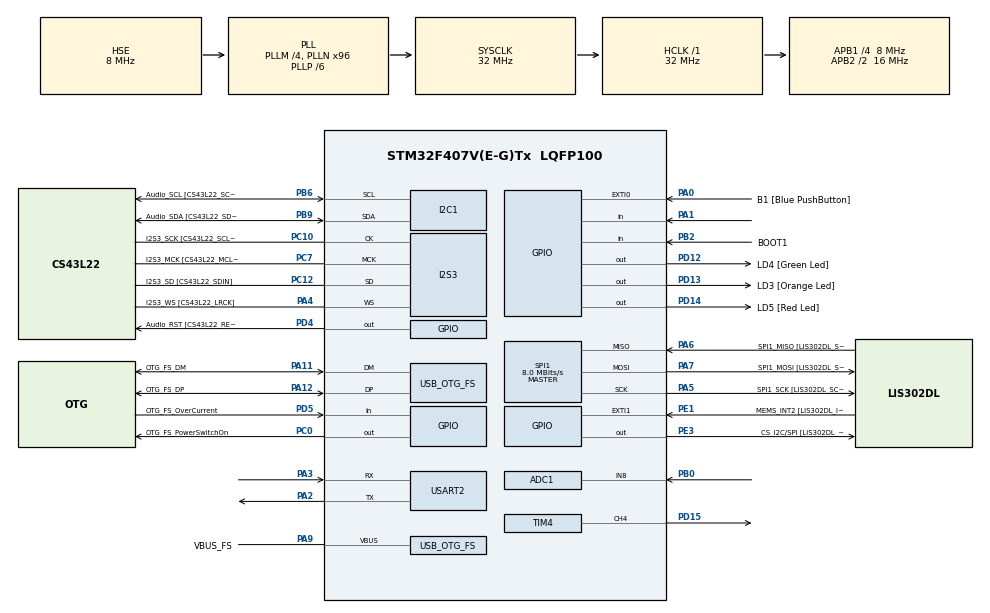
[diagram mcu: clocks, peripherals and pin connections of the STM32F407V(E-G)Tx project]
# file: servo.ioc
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ADC1.Channel-0\#ChannelRegularConversion=ADC_CHANNEL_8
ADC1.NbrOfConversionFlag=1
ADC1.Rank-0\#ChannelRegularConversion=1
ADC1.SamplingTime-0\#ChannelRegularConversion=ADC_SAMPLETIME_3CYCLES
ADC1.master=1
I2S3.AudioFreq=I2S_AUDIOFREQ_96K
I2S3.AudioFreq-Half_Duplex_Master=I2S_AUDIOFREQ_96K
I2S3.ErrorAudioFreq=- %
I2S3.ErrorAudioFreq-Half_Duplex_Master=0.8 %
I2S3.FullDuplexMode=I2S_FULLDUPLEXMODE_DISABLE
I2S3.Instance=SPI$Index
I2S3.RealAudioFreq=- Hz
I2S3.RealAudioFreq-Half_Duplex_Master=96.774 KHz
I2S3.VirtualMode=I2S_MODE_MASTER
Mcu.Family=STM32F4
Mcu.Name=STM32F407V(E-G)Tx
Mcu.Package=LQFP100
NVIC.OTG_FS_IRQn=true\:0\:0\:false\:false\:true\:true\:true
NVIC.PriorityGroup=NVIC_PRIORITYGROUP_0
PA0-WKUP.GPIO_Label=B1 [Blue PushButton]
PA0-WKUP.GPIO_ModeDefaultEXTI=GPIO_MODE_EVT_RISING
PA0-WKUP.GPIO_PuPd=GPIO_NOPULL
PA0-WKUP.Signal=GPXTI0
PA1.Signal=GPIO_Input
PA10.GPIO_Label=OTG_FS_ID
PA10.GPIO_Mode=GPIO_MODE_AF_PP
PA10.GPIO_PuPd=GPIO_NOPULL
PA10.GPIO_Speed=GPIO_SPEED_FREQ_LOW
PA10.Signal=USB_OTG_FS_ID
PA11.GPIO_Label=OTG_FS_DM
PA11.GPIO_Mode=GPIO_MODE_AF_PP
PA11.GPIO_PuPd=GPIO_NOPULL
PA11.GPIO_Speed=GPIO_SPEED_FREQ_LOW
PA11.Mode=Host_Only
PA11.Signal=USB_OTG_FS_DM
PA12.GPIO_Label=OTG_FS_DP
PA12.GPIO_Mode=GPIO_MODE_AF_PP
PA12.GPIO_PuPd=GPIO_NOPULL
PA12.GPIO_Speed=GPIO_SPEED_FREQ_LOW
PA12.Mode=Host_Only
PA12.Signal=USB_OTG_FS_DP
PA13.GPIO_Label=SWDIO
PA13.Mode=Serial_Wire
PA13.Signal=SYS_JTMS-SWDIO
PA14.GPIO_Label=SWCLK
PA14.Mode=Serial_Wire
PA14.Signal=SYS_JTCK-SWCLK
PA2.Mode=Asynchronous
PA2.Signal=USART2_TX
PA3.Mode=Asynchronous
PA3.Signal=USART2_RX
PA4.GPIO_Label=I2S3_WS [CS43L22_LRCK]
PA4.GPIO_Mode=GPIO_MODE_AF_PP
PA4.GPIO_PuPd=GPIO_NOPULL
PA4.GPIO_Speed=GPIO_SPEED_FREQ_LOW
PA4.Mode=Half_Duplex_Master
PA4.Signal=I2S3_WS
PA5.GPIO_Label=SPI1_SCK [LIS302DL_SCL/SPC]
PA5.GPIO_Mode=GPIO_MODE_AF_PP
PA5.GPIO_PuPd=GPIO_NOPULL
PA5.GPIO_Speed=GPIO_SPEED_FREQ_LOW
PA5.Mode=Full_Duplex_Master
PA5.Signal=SPI1_SCK
PA6.GPIO_Label=SPI1_MISO [LIS302DL_SDO]
PA6.GPIO_Mode=GPIO_MODE_AF_PP
PA6.GPIO_PuPd=GPIO_NOPULL
PA6.GPIO_Speed=GPIO_SPEED_FREQ_LOW
PA6.Mode=Full_Duplex_Master
PA6.Signal=SPI1_MISO
PA7.GPIO_Label=SPI1_MOSI [LIS302DL_SDA/SDI/SDO]
PA7.GPIO_Mode=GPIO_MODE_AF_PP
PA7.GPIO_PuPd=GPIO_NOPULL
PA7.GPIO_Speed=GPIO_SPEED_FREQ_LOW
PA7.Mode=Full_Duplex_Master
PA7.Signal=SPI1_MOSI
PA9.GPIO_Label=VBUS_FS
PA9.GPIO_Mode=GPIO_MODE_INPUT
PA9.GPIO_PuPd=GPIO_NOPULL
PA9.Mode=Activate_VBUS
PA9.Signal=USB_OTG_FS_VBUS
PB0.Signal=ADCx_IN8
PB10.GPIO_Label=CLK_IN [MP45DT02_CLK]
PB10.GPIO_Mode=GPIO_MODE_AF_PP
PB10.GPIO_PuPd=GPIO_NOPULL
PB10.GPIO_Speed=GPIO_SPEED_FREQ_LOW
PB10.Signal=I2S2_CK
PB2.GPIO_Label=BOOT1
PB2.GPIO_Mode=GPIO_MODE_INPUT
PB2.GPIO_PuPd=GPIO_NOPULL
PB2.Signal=GPIO_Input
PB3.GPIO_Label=SWO
PB3.Signal=SYS_JTDO-SWO
PB6.GPIO_Label=Audio_SCL [CS43L22_SCL]
PB6.GPIO_Mode=GPIO_MODE_AF_OD
PB6.GPIO_PuPd=GPIO_NOPULL
PB6.GPIO_Speed=GPIO_SPEED_FREQ_LOW
PB6.Mode=I2C
PB6.Signal=I2C1_SCL
PB9.GPIO_Label=Audio_SDA [CS43L22_SDA]
PB9.GPIO_Mode=GPIO_MODE_AF_OD
PB9.GPIO_PuPd=GPIO_NOPULL
PB9.GPIO_Speed=GPIO_SPEED_FREQ_LOW
PB9.Mode=I2C
PB9.Signal=I2C1_SDA
PC0.GPIO_Label=OTG_FS_PowerSwitchOn
PC0.GPIO_PuPd=GPIO_NOPULL
PC0.GPIO_Speed=GPIO_SPEED_FREQ_LOW
PC0.PinState=GPIO_PIN_SET
PC0.Signal=GPIO_Output
PC10.GPIO_Label=I2S3_SCK [CS43L22_SCLK]
PC10.GPIO_Mode=GPIO_MODE_AF_PP
PC10.GPIO_PuPd=GPIO_NOPULL
PC10.GPIO_Speed=GPIO_SPEED_FREQ_LOW
PC10.Mode=Half_Duplex_Master
PC10.Signal=I2S3_CK
PC12.GPIO_Label=I2S3_SD [CS43L22_SDIN]
PC12.GPIO_Mode=GPIO_MODE_AF_PP
PC12.GPIO_PuPd=GPIO_NOPULL
PC12.GPIO_Speed=GPIO_SPEED_FREQ_LOW
PC12.Mode=Half_Duplex_Master
PC12.Signal=I2S3_SD
PC14-OSC32_IN.GPIO_Label=PC14-OSC32_IN
PC14-OSC32_IN.Mode=LSE-External-Oscillator
PC14-OSC32_IN.Signal=RCC_OSC32_IN
PC15-OSC32_OUT.GPIO_Label=PC15-OSC32_OUT
PC15-OSC32_OUT.Mode=LSE-External-Oscillator
PC15-OSC32_OUT.Signal=RCC_OSC32_OUT
PC3.GPIO_Label=PDM_OUT [MP45DT02_DOUT]
PC3.GPIO_Mode=GPIO_MODE_AF_PP
PC3.GPIO_PuPd=GPIO_NOPULL
PC3.GPIO_Speed=GPIO_SPEED_FREQ_LOW
PC3.Signal=I2S2_SD
PC7.GPIO_Label=I2S3_MCK [CS43L22_MCLK]
PC7.GPIO_Mode=GPIO_MODE_AF_PP
PC7.GPIO_PuPd=GPIO_NOPULL
PC7.GPIO_Speed=GPIO_SPEED_FREQ_LOW
PC7.Mode=Master_Clock_Activated
PC7.Signal=I2S3_MCK
PD12.GPIO_Label=LD4 [Green Led]
PD12.GPIO_PuPd=GPIO_NOPULL
PD12.GPIO_Speed=GPIO_SPEED_FREQ_LOW
PD12.Signal=GPIO_Output
PD13.GPIO_Label=LD3 [Orange Led]
PD13.GPIO_PuPd=GPIO_NOPULL
PD13.GPIO_Speed=GPIO_SPEED_FREQ_LOW
PD13.Signal=GPIO_Output
PD14.GPIO_Label=LD5 [Red Led]
PD14.GPIO_PuPd=GPIO_NOPULL
PD14.GPIO_Speed=GPIO_SPEED_FREQ_LOW
PD14.Signal=GPIO_Output
PD15.Signal=S_TIM4_CH4
PD4.GPIO_Label=Audio_RST [CS43L22_RESET]
PD4.GPIO_PuPd=GPIO_NOPULL
PD4.GPIO_Speed=GPIO_SPEED_FREQ_LOW
PD4.Signal=GPIO_Output
PD5.GPIO_Label=OTG_FS_OverCurrent
PD5.GPIO_Mode=GPIO_MODE_INPUT
PD5.GPIO_PuPd=GPIO_NOPULL
PD5.Signal=GPIO_Input
PE1.GPIO_Label=MEMS_INT2 [LIS302DL_INT2]
PE1.GPIO_ModeDefaultEXTI=GPIO_MODE_EVT_RISING
PE1.GPIO_PuPd=GPIO_NOPULL
PE1.Signal=GPXTI1
PE3.GPIO_Label=CS_I2C/SPI [LIS302DL_CS_I2C/SPI]
PE3.GPIO_PuPd=GPIO_NOPULL
PE3.GPIO_Speed=GPIO_SPEED_FREQ_LOW
PE3.Signal=GPIO_Output
PH0-OSC_IN.GPIO_Label=PH0-OSC_IN
PH0-OSC_IN.Mode=HSE-External-Oscillator
PH0-OSC_IN.Signal=RCC_OSC_IN
PH1-OSC_OUT.GPIO_Label=PH1-OSC_OUT
PH1-OSC_OUT.Mode=HSE-External-Oscillator
PH1-OSC_OUT.Signal=RCC_OSC_OUT
ProjectManager.HeapSize=0x200
ProjectManager.StackSize=0x400
ProjectManager.TargetToolchain=STM32CubeIDE
RCC.48MHZClocksFreq_Value=48000000
RCC.AHBFreq_Value=32000000
RCC.APB1CLKDivider=RCC_HCLK_DIV4
RCC.APB1Freq_Value=8000000
RCC.APB1TimFreq_Value=16000000
RCC.APB2CLKDivider=RCC_HCLK_DIV2
RCC.APB2Freq_Value=16000000
RCC.APB2TimFreq_Value=32000000
RCC.CortexFreq_Value=32000000
RCC.HCLKFreq_Value=32000000
RCC.HSE_VALUE=8000000
RCC.HSI_VALUE=16000000
RCC.PLLI2SN=50
RCC.PLLM=4
RCC.PLLN=96
RCC.PLLP=RCC_PLLP_DIV6
RCC.SYSCLKFreq_VALUE=32000000
RCC.SYSCLKSource=RCC_SYSCLKSOURCE_PLLCLK
RCC.VCOOutputFreq_Value=192000000
SH.ADCx_IN8.0=ADC1_IN8,IN8
SH.S_TIM4_CH4.0=TIM4_CH4,PWM Generation4 CH4
SPI1.BaudRatePrescaler-Full_Duplex_Master=SPI_BAUDRATEPRESCALER_2
SPI1.CalculateBaudRate=8.0 MBits/s
SPI1.CalculateBaudRate-Full_Duplex_Master=42.0 MBits/s
SPI1.Direction=SPI_DIRECTION_2LINES
SPI1.Mode=SPI_MODE_MASTER
SPI1.Mode-Full_Duplex_Master=SPI_MODE_MASTER
SPI1.VirtualType=VM_MASTER
TIM4.AutoReloadPreload=TIM_AUTORELOAD_PRELOAD_ENABLE
TIM4.Channel-PWM\ Generation4\ CH4=TIM_CHANNEL_4
TIM4.Period=199
TIM4.Prescaler=1599
TIM4.Pulse-PWM\ Generation4\ CH4=15
USART2.VirtualMode=VM_ASYNC
USB_HOST.BSP.number=1
USB_HOST.USBH_HandleTypeDef-CDC_FS=hUsbHostFS
USB_HOST.VirtualModeFS=Cdc
USB_HOST0.BSP.STBoard=false
USB_HOST0.BSP.api=Unknown
USB_HOST0.BSP.i2caddr=0
USB_HOST0.BSP.i2creg=0
USB_HOST0.BSP.instance=PC0
USB_HOST0.BSP.ip=GPIO
USB_HOST0.BSP.mode=Output
USB_HOST0.BSP.name=Drive_VBUS_FS
USB_HOST0.BSP.solution=PC0
USB_OTG_FS.VirtualMode=Host_Only
USB_OTG_FS.phy_itface=HCD_PHY_EMBEDDED
VP_TIM4_VS_ClockSourceINT.Mode=Internal
VP_USB_HOST_VS_USB_HOST_CDC_FS.Mode=CDC_FS
board=STM32F4DISCOVERY

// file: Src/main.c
/* USER CODE BEGIN Header */
/**
  ******************************************************************************
  * @file           : main.c
  * @brief          : Main program body
  ******************************************************************************
  * @attention
  *
  * <h2><center>&copy; Copyright (c) 2019 STMicroelectronics.
  * All rights reserved.</center></h2>
  *
  * This software component is licensed by ST under Ultimate Liberty license
  * SLA0044, the "License"; You may not use this file except in compliance with
  * the License. You may obtain a copy of the License at:
  *                             www.st.com/SLA0044
  *
  ******************************************************************************
  */
/* USER CODE END Header */

#include "main.h"
#include "usb_host.h"

ADC_HandleTypeDef hadc1;

I2C_HandleTypeDef hi2c1;

I2S_HandleTypeDef hi2s3;

SPI_HandleTypeDef hspi1;

TIM_HandleTypeDef htim4;

UART_HandleTypeDef huart2;

void SystemClock_Config(void);
static void MX_GPIO_Init(void);
static void MX_I2C1_Init(void);
static void MX_I2S3_Init(void);
static void MX_SPI1_Init(void);
static void MX_TIM4_Init(void);
static void MX_USART2_UART_Init(void);
static void MX_ADC1_Init(void);
void MX_USB_HOST_Process(void);

int main(void)
{

  /* MCU Configuration--------------------------------------------------------*/

  /* Reset of all peripherals, Initializes the Flash interface and the Systick. */
  HAL_Init();

  /* Configure the system clock */
  SystemClock_Config();

  /* Initialize all configured peripherals */
  MX_GPIO_Init();
  MX_I2C1_Init();
  MX_I2S3_Init();
  MX_SPI1_Init();
  MX_USB_HOST_Init();
  MX_TIM4_Init();
  MX_USART2_UART_Init();
  MX_ADC1_Init();
  /* USER CODE BEGIN 2 */
  HAL_TIM_PWM_Start(&htim4, TIM_CHANNEL_4);
  char buffer[20];
  char buf[20];
  int i,command;
  int isLock = 0;
  long long slam[]={-5000,-5000,-5000};
  /* USER CODE END 2 */

  /* Infinite loop */
  while (1)
  {
    MX_USB_HOST_Process();

    /* USER CODE BEGIN 3 */
    HAL_Delay(10);
    i = HAL_GPIO_ReadPin(GPIOA, GPIO_PIN_1);
    command=0;
    if(HAL_UART_Receive(&huart2, buf, 1, 10)==HAL_OK)
    	command=buf[0]-48;
    //sprintf(buffer, "%d \r\n", i);
    //HAL_UART_Transmit(&huart2, buffer, strlen(buffer), HAL_MAX_DELAY);

    if (i==0 && isLock == 0) {
    	TIM4->CCR4 = 12; // Lock
    	isLock = 1;
    	sprintf(buffer, "0");
    	HAL_UART_Transmit(&huart2, buffer, 1, HAL_MAX_DELAY);
    }

    if ((HAL_GPIO_ReadPin(GPIOA, GPIO_PIN_0)||command==1) && isLock==1) {
    	TIM4->CCR4 = 22; // Unlock
    	isLock = 0;
    	sprintf(buffer, "1");
    	HAL_UART_Transmit(&huart2, buffer, 1, HAL_MAX_DELAY);
    	HAL_Delay(2000);
    }

    HAL_ADC_Start(&hadc1);
       while(HAL_ADC_PollForConversion(&hadc1,0) != HAL_OK);
       int x=HAL_ADC_GetValue(&hadc1);
       long long nowTime=HAL_GetTick();
       if(x>100) {
        slam[0]=slam[1];
        slam[1]=slam[2];
        slam[2]=nowTime;
        if(slam[2]-slam[0]<=3000) {
         slam[0]=-5000;
         slam[1]=-5000;
         slam[2]=-5000;
         HAL_GPIO_TogglePin(GPIOD, GPIO_PIN_14);
         sprintf(buf, "3");
         HAL_UART_Transmit(&huart2, buf, strlen(buf), 1000);
        }
       }

//   Lock();
//   HAL_Delay(2000);
//
//   Unlock();
//   HAL_Delay(2000);
//        TIM4->CCR4 = 3; // Minimum
    //    TIM4->CCR4 = 27; // CCW
  }
  /* USER CODE END 3 */
}

void SystemClock_Config(void)
{
  RCC_OscInitTypeDef RCC_OscInitStruct = {0};
  RCC_ClkInitTypeDef RCC_ClkInitStruct = {0};
  RCC_PeriphCLKInitTypeDef PeriphClkInitStruct = {0};

  /** Configure the main internal regulator output voltage
  */
  __HAL_RCC_PWR_CLK_ENABLE();
  __HAL_PWR_VOLTAGESCALING_CONFIG(PWR_REGULATOR_VOLTAGE_SCALE1);
  /** Initializes the CPU, AHB and APB busses clocks
  */
  RCC_OscInitStruct.OscillatorType = RCC_OSCILLATORTYPE_HSE;
  RCC_OscInitStruct.HSEState = RCC_HSE_ON;
  RCC_OscInitStruct.PLL.PLLState = RCC_PLL_ON;
  RCC_OscInitStruct.PLL.PLLSource = RCC_PLLSOURCE_HSE;
  RCC_OscInitStruct.PLL.PLLM = 4;
  RCC_OscInitStruct.PLL.PLLN = 96;
  RCC_OscInitStruct.PLL.PLLP = RCC_PLLP_DIV6;
  RCC_OscInitStruct.PLL.PLLQ = 4;
  if (HAL_RCC_OscConfig(&RCC_OscInitStruct) != HAL_OK)
  {
    Error_Handler();
  }
  /** Initializes the CPU, AHB and APB busses clocks
  */
  RCC_ClkInitStruct.ClockType = RCC_CLOCKTYPE_HCLK|RCC_CLOCKTYPE_SYSCLK
                              |RCC_CLOCKTYPE_PCLK1|RCC_CLOCKTYPE_PCLK2;
  RCC_ClkInitStruct.SYSCLKSource = RCC_SYSCLKSOURCE_PLLCLK;
  RCC_ClkInitStruct.AHBCLKDivider = RCC_SYSCLK_DIV1;
  RCC_ClkInitStruct.APB1CLKDivider = RCC_HCLK_DIV4;
  RCC_ClkInitStruct.APB2CLKDivider = RCC_HCLK_DIV2;

  if (HAL_RCC_ClockConfig(&RCC_ClkInitStruct, FLASH_LATENCY_1) != HAL_OK)
  {
    Error_Handler();
  }
  PeriphClkInitStruct.PeriphClockSelection = RCC_PERIPHCLK_I2S;
  PeriphClkInitStruct.PLLI2S.PLLI2SN = 50;
  PeriphClkInitStruct.PLLI2S.PLLI2SR = 2;
  if (HAL_RCCEx_PeriphCLKConfig(&PeriphClkInitStruct) != HAL_OK)
  {
    Error_Handler();
  }
}

static void MX_ADC1_Init(void)
{

  ADC_ChannelConfTypeDef sConfig = {0};

  /** Configure the global features of the ADC (Clock, Resolution, Data Alignment and number of conversion)
  */
  hadc1.Instance = ADC1;
  hadc1.Init.ClockPrescaler = ADC_CLOCK_SYNC_PCLK_DIV2;
  hadc1.Init.Resolution = ADC_RESOLUTION_12B;
  hadc1.Init.ScanConvMode = DISABLE;
  hadc1.Init.ContinuousConvMode = DISABLE;
  hadc1.Init.DiscontinuousConvMode = DISABLE;
  hadc1.Init.ExternalTrigConvEdge = ADC_EXTERNALTRIGCONVEDGE_NONE;
  hadc1.Init.ExternalTrigConv = ADC_SOFTWARE_START;
  hadc1.Init.DataAlign = ADC_DATAALIGN_RIGHT;
  hadc1.Init.NbrOfConversion = 1;
  hadc1.Init.DMAContinuousRequests = DISABLE;
  hadc1.Init.EOCSelection = ADC_EOC_SINGLE_CONV;
  if (HAL_ADC_Init(&hadc1) != HAL_OK)
  {
    Error_Handler();
  }
  /** Configure for the selected ADC regular channel its corresponding rank in the sequencer and its sample time.
  */
  sConfig.Channel = ADC_CHANNEL_8;
  sConfig.Rank = 1;
  sConfig.SamplingTime = ADC_SAMPLETIME_3CYCLES;
  if (HAL_ADC_ConfigChannel(&hadc1, &sConfig) != HAL_OK)
  {
    Error_Handler();
  }

}

static void MX_I2C1_Init(void)
{

  hi2c1.Instance = I2C1;
  hi2c1.Init.ClockSpeed = 100000;
  hi2c1.Init.DutyCycle = I2C_DUTYCYCLE_2;
  hi2c1.Init.OwnAddress1 = 0;
  hi2c1.Init.AddressingMode = I2C_ADDRESSINGMODE_7BIT;
  hi2c1.Init.DualAddressMode = I2C_DUALADDRESS_DISABLE;
  hi2c1.Init.OwnAddress2 = 0;
  hi2c1.Init.GeneralCallMode = I2C_GENERALCALL_DISABLE;
  hi2c1.Init.NoStretchMode = I2C_NOSTRETCH_DISABLE;
  if (HAL_I2C_Init(&hi2c1) != HAL_OK)
  {
    Error_Handler();
  }

}

static void MX_I2S3_Init(void)
{

  hi2s3.Instance = SPI3;
  hi2s3.Init.Mode = I2S_MODE_MASTER_TX;
  hi2s3.Init.Standard = I2S_STANDARD_PHILIPS;
  hi2s3.Init.DataFormat = I2S_DATAFORMAT_16B;
  hi2s3.Init.MCLKOutput = I2S_MCLKOUTPUT_ENABLE;
  hi2s3.Init.AudioFreq = I2S_AUDIOFREQ_96K;
  hi2s3.Init.CPOL = I2S_CPOL_LOW;
  hi2s3.Init.ClockSource = I2S_CLOCK_PLL;
  hi2s3.Init.FullDuplexMode = I2S_FULLDUPLEXMODE_DISABLE;
  if (HAL_I2S_Init(&hi2s3) != HAL_OK)
  {
    Error_Handler();
  }

}

static void MX_SPI1_Init(void)
{

  /* SPI1 parameter configuration*/
  hspi1.Instance = SPI1;
  hspi1.Init.Mode = SPI_MODE_MASTER;
  hspi1.Init.Direction = SPI_DIRECTION_2LINES;
  hspi1.Init.DataSize = SPI_DATASIZE_8BIT;
  hspi1.Init.CLKPolarity = SPI_POLARITY_LOW;
  hspi1.Init.CLKPhase = SPI_PHASE_1EDGE;
  hspi1.Init.NSS = SPI_NSS_SOFT;
  hspi1.Init.BaudRatePrescaler = SPI_BAUDRATEPRESCALER_2;
  hspi1.Init.FirstBit = SPI_FIRSTBIT_MSB;
  hspi1.Init.TIMode = SPI_TIMODE_DISABLE;
  hspi1.Init.CRCCalculation = SPI_CRCCALCULATION_DISABLE;
  hspi1.Init.CRCPolynomial = 10;
  if (HAL_SPI_Init(&hspi1) != HAL_OK)
  {
    Error_Handler();
  }

}

static void MX_TIM4_Init(void)
{

  TIM_ClockConfigTypeDef sClockSourceConfig = {0};
  TIM_MasterConfigTypeDef sMasterConfig = {0};
  TIM_OC_InitTypeDef sConfigOC = {0};

  htim4.Instance = TIM4;
  htim4.Init.Prescaler = 1599;
  htim4.Init.CounterMode = TIM_COUNTERMODE_UP;
  htim4.Init.Period = 199;
  htim4.Init.ClockDivision = TIM_CLOCKDIVISION_DIV1;
  htim4.Init.AutoReloadPreload = TIM_AUTORELOAD_PRELOAD_ENABLE;
  if (HAL_TIM_Base_Init(&htim4) != HAL_OK)
  {
    Error_Handler();
  }
  sClockSourceConfig.ClockSource = TIM_CLOCKSOURCE_INTERNAL;
  if (HAL_TIM_ConfigClockSource(&htim4, &sClockSourceConfig) != HAL_OK)
  {
    Error_Handler();
  }
  if (HAL_TIM_PWM_Init(&htim4) != HAL_OK)
  {
    Error_Handler();
  }
  sMasterConfig.MasterOutputTrigger = TIM_TRGO_RESET;
  sMasterConfig.MasterSlaveMode = TIM_MASTERSLAVEMODE_DISABLE;
  if (HAL_TIMEx_MasterConfigSynchronization(&htim4, &sMasterConfig) != HAL_OK)
  {
    Error_Handler();
  }
  sConfigOC.OCMode = TIM_OCMODE_PWM1;
  sConfigOC.Pulse = 15;
  sConfigOC.OCPolarity = TIM_OCPOLARITY_HIGH;
  sConfigOC.OCFastMode = TIM_OCFAST_DISABLE;
  if (HAL_TIM_PWM_ConfigChannel(&htim4, &sConfigOC, TIM_CHANNEL_4) != HAL_OK)
  {
    Error_Handler();
  }
  HAL_TIM_MspPostInit(&htim4);

}

static void MX_USART2_UART_Init(void)
{

  huart2.Instance = USART2;
  huart2.Init.BaudRate = 115200;
  huart2.Init.WordLength = UART_WORDLENGTH_8B;
  huart2.Init.StopBits = UART_STOPBITS_1;
  huart2.Init.Parity = UART_PARITY_NONE;
  huart2.Init.Mode = UART_MODE_TX_RX;
  huart2.Init.HwFlowCtl = UART_HWCONTROL_NONE;
  huart2.Init.OverSampling = UART_OVERSAMPLING_16;
  if (HAL_UART_Init(&huart2) != HAL_OK)
  {
    Error_Handler();
  }

}

static void MX_GPIO_Init(void)
{
  GPIO_InitTypeDef GPIO_InitStruct = {0};

  /* GPIO Ports Clock Enable */
  __HAL_RCC_GPIOE_CLK_ENABLE();
  __HAL_RCC_GPIOC_CLK_ENABLE();
  __HAL_RCC_GPIOH_CLK_ENABLE();
  __HAL_RCC_GPIOA_CLK_ENABLE();
  __HAL_RCC_GPIOB_CLK_ENABLE();
  __HAL_RCC_GPIOD_CLK_ENABLE();

  /*Configure GPIO pin Output Level */
  HAL_GPIO_WritePin(CS_I2C_SPI_GPIO_Port, CS_I2C_SPI_Pin, GPIO_PIN_RESET);

  /*Configure GPIO pin Output Level */
  HAL_GPIO_WritePin(OTG_FS_PowerSwitchOn_GPIO_Port, OTG_FS_PowerSwitchOn_Pin, GPIO_PIN_SET);

  /*Configure GPIO pin Output Level */
  HAL_GPIO_WritePin(GPIOD, LD4_Pin|LD3_Pin|LD5_Pin|Audio_RST_Pin, GPIO_PIN_RESET);

  /*Configure GPIO pin : CS_I2C_SPI_Pin */
  GPIO_InitStruct.Pin = CS_I2C_SPI_Pin;
  GPIO_InitStruct.Mode = GPIO_MODE_OUTPUT_PP;
  GPIO_InitStruct.Pull = GPIO_NOPULL;
  GPIO_InitStruct.Speed = GPIO_SPEED_FREQ_LOW;
  HAL_GPIO_Init(CS_I2C_SPI_GPIO_Port, &GPIO_InitStruct);

  /*Configure GPIO pin : OTG_FS_PowerSwitchOn_Pin */
  GPIO_InitStruct.Pin = OTG_FS_PowerSwitchOn_Pin;
  GPIO_InitStruct.Mode = GPIO_MODE_OUTPUT_PP;
  GPIO_InitStruct.Pull = GPIO_NOPULL;
  GPIO_InitStruct.Speed = GPIO_SPEED_FREQ_LOW;
  HAL_GPIO_Init(OTG_FS_PowerSwitchOn_GPIO_Port, &GPIO_InitStruct);

  /*Configure GPIO pin : PDM_OUT_Pin */
  GPIO_InitStruct.Pin = PDM_OUT_Pin;
  GPIO_InitStruct.Mode = GPIO_MODE_AF_PP;
  GPIO_InitStruct.Pull = GPIO_NOPULL;
  GPIO_InitStruct.Speed = GPIO_SPEED_FREQ_LOW;
  GPIO_InitStruct.Alternate = GPIO_AF5_SPI2;
  HAL_GPIO_Init(PDM_OUT_GPIO_Port, &GPIO_InitStruct);

  /*Configure GPIO pin : B1_Pin */
  GPIO_InitStruct.Pin = B1_Pin;
  GPIO_InitStruct.Mode = GPIO_MODE_EVT_RISING;
  GPIO_InitStruct.Pull = GPIO_NOPULL;
  HAL_GPIO_Init(B1_GPIO_Port, &GPIO_InitStruct);

  /*Configure GPIO pin : PA1 */
  GPIO_InitStruct.Pin = GPIO_PIN_1;
  GPIO_InitStruct.Mode = GPIO_MODE_INPUT;
  GPIO_InitStruct.Pull = GPIO_NOPULL;
  HAL_GPIO_Init(GPIOA, &GPIO_InitStruct);

  /*Configure GPIO pin : BOOT1_Pin */
  GPIO_InitStruct.Pin = BOOT1_Pin;
  GPIO_InitStruct.Mode = GPIO_MODE_INPUT;
  GPIO_InitStruct.Pull = GPIO_NOPULL;
  HAL_GPIO_Init(BOOT1_GPIO_Port, &GPIO_InitStruct);

  /*Configure GPIO pin : CLK_IN_Pin */
  GPIO_InitStruct.Pin = CLK_IN_Pin;
  GPIO_InitStruct.Mode = GPIO_MODE_AF_PP;
  GPIO_InitStruct.Pull = GPIO_NOPULL;
  GPIO_InitStruct.Speed = GPIO_SPEED_FREQ_LOW;
  GPIO_InitStruct.Alternate = GPIO_AF5_SPI2;
  HAL_GPIO_Init(CLK_IN_GPIO_Port, &GPIO_InitStruct);

  /*Configure GPIO pins : LD4_Pin LD3_Pin LD5_Pin Audio_RST_Pin */
  GPIO_InitStruct.Pin = LD4_Pin|LD3_Pin|LD5_Pin|Audio_RST_Pin;
  GPIO_InitStruct.Mode = GPIO_MODE_OUTPUT_PP;
  GPIO_InitStruct.Pull = GPIO_NOPULL;
  GPIO_InitStruct.Speed = GPIO_SPEED_FREQ_LOW;
  HAL_GPIO_Init(GPIOD, &GPIO_InitStruct);

  /*Configure GPIO pin : OTG_FS_OverCurrent_Pin */
  GPIO_InitStruct.Pin = OTG_FS_OverCurrent_Pin;
  GPIO_InitStruct.Mode = GPIO_MODE_INPUT;
  GPIO_InitStruct.Pull = GPIO_NOPULL;
  HAL_GPIO_Init(OTG_FS_OverCurrent_GPIO_Port, &GPIO_InitStruct);

  /*Configure GPIO pin : MEMS_INT2_Pin */
  GPIO_InitStruct.Pin = MEMS_INT2_Pin;
  GPIO_InitStruct.Mode = GPIO_MODE_EVT_RISING;
  GPIO_InitStruct.Pull = GPIO_NOPULL;
  HAL_GPIO_Init(MEMS_INT2_GPIO_Port, &GPIO_InitStruct);

}

void Error_Handler(void)
{
}

/************************ (C) COPYRIGHT STMicroelectronics *****END OF FILE****/
